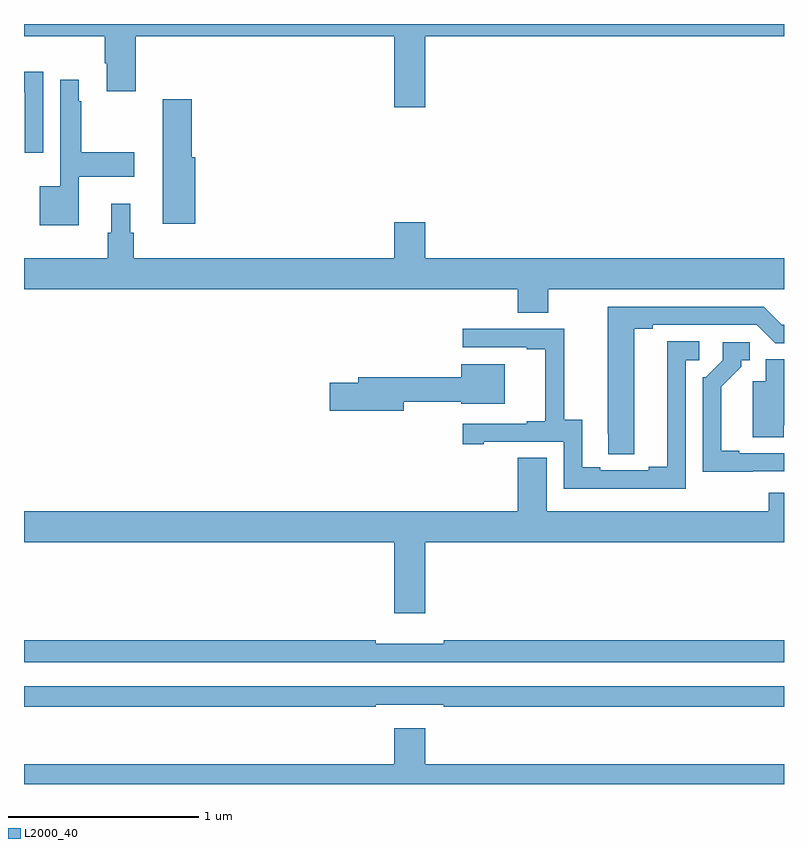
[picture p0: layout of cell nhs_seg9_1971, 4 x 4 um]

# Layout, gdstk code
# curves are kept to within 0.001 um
import gdstk
lib = gdstk.Library(unit=1e-6, precision=1e-09)
def P(c, l, *ps):  # polygons
    for p in ps: c.add(gdstk.Polygon(p, *l))
L2000_40 = (2000, 40)

nhs_seg9_1971 = lib.new_cell('nhs_seg9_1971')
P(nhs_seg9_1971, L2000_40, [(225.112,1180.436),(227,1180.436),(227,1180.5),(223,1180.5),(223,1180.436),(223.424,1180.436),(223.424,1180.294),(223.436,1180.294),(223.436,1180.146),(223.589,1180.146),(223.589,1180.436),(224.948,1180.436),(224.948,1180.062),(225.112,1180.062)],
  [(223.101,1180.248),(223,1180.248),(223,1180.14),(223.004,1180.14),(223.004,1179.822),(223.101,1179.822)],
  [(223.288,1179.695),(223.579,1179.695),(223.579,1179.825),(223.3,1179.825),(223.3,1180.094),(223.288,1180.094),(223.288,1180.207),(223.191,1180.207),(223.191,1179.646),(223.082,1179.646),(223.082,1179.44),(223.288,1179.44)],
  [(223.901,1179.798),(223.883,1179.798),(223.883,1180.105),(223.729,1180.105),(223.729,1179.913),(223.73,1179.913),(223.73,1179.45),(223.901,1179.45)],
  [(225.759,1179.104),(227,1179.104),(227,1179.268),(225.112,1179.268),(225.112,1179.457),(224.948,1179.457),(224.948,1179.268),(223.577,1179.268),(223.577,1179.402),(223.558,1179.402),(223.558,1179.553),(223.46,1179.553),(223.46,1179.402),(223.441,1179.402),(223.441,1179.268),(223,1179.268),(223,1179.104),(225.599,1179.104),(225.599,1178.98),(225.759,1178.98)],
  [(226.213,1178.896),(226.309,1178.896),(226.309,1178.916),(226.857,1178.916),(226.953,1178.82),(227,1178.82),(227,1178.916),(226.989,1178.916),(226.893,1179.012),(226.073,1179.012),(226.074,1178.236),(226.213,1178.236)],
  [(226.482,1178.73),(226.555,1178.73),(226.555,1178.831),(226.385,1178.831),(226.385,1178.171),(226.289,1178.171),(226.289,1178.151),(226.033,1178.151),(226.033,1178.166),(225.937,1178.166),(225.937,1178.417),(225.843,1178.417),(225.843,1178.895),(225.309,1178.895),(225.309,1178.799),(225.647,1178.799),(225.647,1178.787),(225.743,1178.787),(225.743,1178.41),(225.647,1178.41),(225.647,1178.397),(225.309,1178.397),(225.309,1178.289),(225.421,1178.289),(225.421,1178.301),(225.84,1178.301),(225.84,1178.055),(226.482,1178.055)],
  [(226.835,1178.145),(227,1178.145),(227,1178.241),(226.765,1178.241),(226.765,1178.254),(226.669,1178.254),(226.669,1178.59),(226.774,1178.695),(226.774,1178.73),(226.819,1178.73),(226.819,1178.826),(226.677,1178.826),(226.677,1178.73),(226.587,1178.64),(226.572,1178.64),(226.572,1178.144)],
  [(226.999,1178.387),(227,1178.387),(227,1178.735),(226.904,1178.735),(226.904,1178.62),(226.835,1178.62),(226.835,1178.326),(226.999,1178.326)],
  [(224.998,1178.512),(225.302,1178.512),(225.302,1178.501),(225.529,1178.501),(225.529,1178.71),(225.302,1178.71),(225.302,1178.641),(224.759,1178.641),(224.759,1178.612),(224.61,1178.612),(224.61,1178.465),(224.998,1178.465)],
  [(225.112,1177.772),(227,1177.772),(227,1178.034),(226.919,1178.034),(226.919,1177.936),(225.751,1177.936),(225.751,1178.216),(225.599,1178.216),(225.599,1177.936),(223,1177.936),(223,1177.772),(224.948,1177.772),(224.948,1177.398),(225.112,1177.398)],
  [(227,1177.256),(225.208,1177.256),(225.208,1177.237),(224.852,1177.237),(224.852,1177.256),(223,1177.256),(223,1177.14),(227,1177.14)],
  [(224.852,1176.918),(225.208,1176.918),(225.208,1176.906),(227,1176.906),(227,1177.014),(223,1177.014),(223,1176.906),(224.852,1176.906)],
  [(227,1176.604),(225.112,1176.604),(225.112,1176.793),(224.948,1176.793),(224.948,1176.604),(223,1176.604),(223,1176.5),(227,1176.5)])

lib.write_gds('nhs_seg9_1971.gds')
